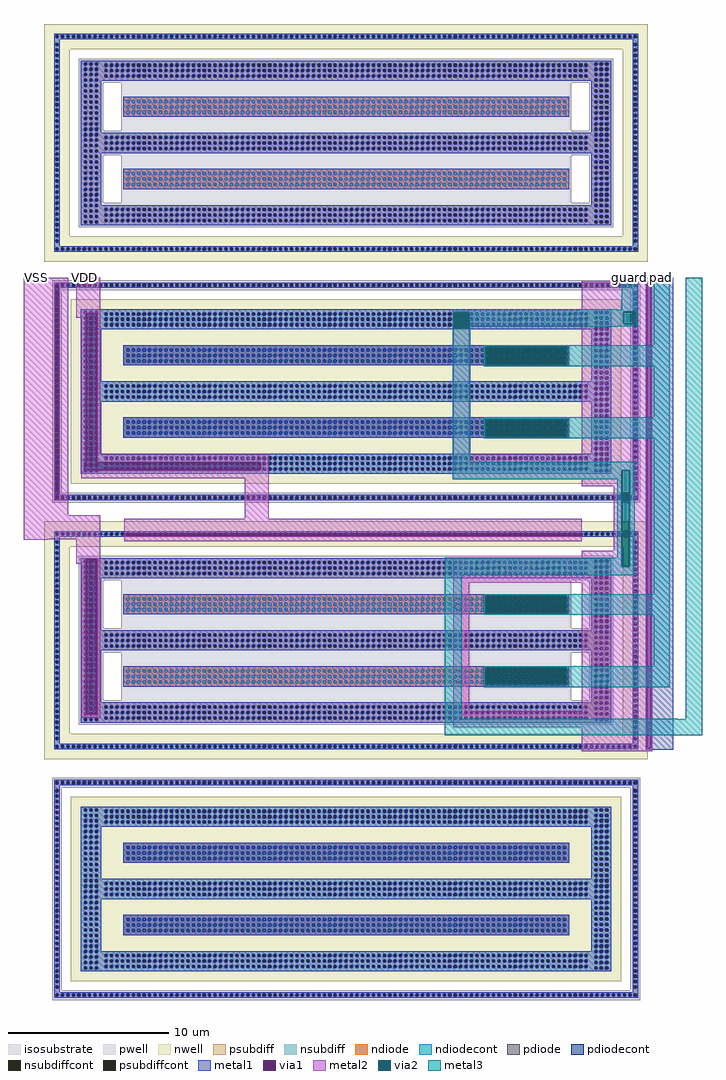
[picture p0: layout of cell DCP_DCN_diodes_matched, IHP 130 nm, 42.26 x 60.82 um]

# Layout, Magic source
magic
tech ihp-sg13g2
magscale 1 2
<< metal1 >>
rect 7400 2740 7740 2800
rect 7400 -3060 7420 2740
rect 7460 -3060 7740 2740
rect 7400 -3080 7740 -3060
<< via1 >>
rect 40 40 80 2720
rect 420 500 560 2360
rect 5400 1720 6420 1940
rect 5400 820 6420 1040
rect 400 400 2600 500
rect 920 -420 6600 -380
rect 420 -2640 560 -700
rect 5400 -1380 6420 -1160
rect 5400 -2280 6420 -2060
rect 7420 -3060 7460 2740
<< metal2 >>
rect -351 2720 200 2800
rect -351 40 40 2720
rect 80 40 200 2720
rect 300 2360 600 2800
rect 6600 2740 7480 2760
rect 6600 2400 7420 2740
rect 300 2300 420 2360
rect 360 500 420 2300
rect 560 600 600 2360
rect 5000 2380 7420 2400
rect 5000 2370 7120 2380
rect 5200 2220 7120 2370
rect 7280 2220 7420 2380
rect 5200 2200 7420 2220
rect 5000 600 5200 2170
rect 5380 1940 6440 1960
rect 5380 1720 5400 1940
rect 6420 1720 6440 1940
rect 5380 1700 6440 1720
rect 5380 1040 6440 1060
rect 5380 820 5400 1040
rect 6420 820 6440 1040
rect 5380 800 6440 820
rect 6600 600 7420 2200
rect 560 500 2700 600
rect 5000 500 7420 600
rect 360 400 400 500
rect 2600 400 2700 500
rect 360 300 2700 400
rect -351 -160 200 40
rect -351 -460 600 -160
rect 2400 -200 2700 300
rect 4991 400 7420 500
rect 4991 291 7100 400
rect 6600 200 7100 291
rect -351 -461 -48 -460
rect 300 -700 600 -460
rect 900 -380 6600 -200
rect 900 -420 920 -380
rect 900 -480 6600 -420
rect 7000 -600 7100 200
rect 6600 -700 7100 -600
rect 300 -760 420 -700
rect 360 -2640 420 -760
rect 560 -2640 600 -700
rect 360 -2680 600 -2640
rect 5000 -800 7100 -700
rect 7200 -800 7420 400
rect 5000 -1000 7420 -800
rect 5000 -2600 5200 -1000
rect 5380 -1160 6440 -1140
rect 5380 -1380 5400 -1160
rect 6420 -1380 6440 -1160
rect 5380 -1400 6440 -1380
rect 5380 -2060 6440 -2040
rect 5380 -2280 5400 -2060
rect 6420 -2280 6440 -2060
rect 5380 -2300 6440 -2280
rect 6600 -2600 7420 -1000
rect 5000 -2800 7420 -2600
rect 6600 -3060 7420 -2800
rect 7460 -3060 7480 2740
rect 6600 -3100 7480 -3060
<< via2 >>
rect 5000 2170 5200 2370
rect 7120 2220 7280 2380
rect 5400 1720 6420 1940
rect 5400 820 6420 1040
rect 7100 -800 7200 400
rect 5400 -1380 6420 -1160
rect 5400 -2280 6420 -2060
<< metal3 >>
rect 4991 2400 7042 2409
rect 7100 2400 7300 2800
rect 4991 2380 7300 2400
rect 4991 2370 7120 2380
rect 4991 2170 5000 2370
rect 5200 2220 7120 2370
rect 7280 2220 7300 2380
rect 5200 2200 7300 2220
rect 5200 2191 7042 2200
rect 5200 2170 5209 2191
rect 4991 509 5209 2170
rect 7500 1960 7700 2800
rect 5380 1940 7700 1960
rect 5380 1720 5400 1940
rect 6420 1720 7700 1940
rect 5380 1700 7700 1720
rect 7500 1060 7700 1700
rect 5380 1040 7700 1060
rect 5380 820 5400 1040
rect 6420 820 7700 1040
rect 5380 800 7700 820
rect 4991 400 7260 509
rect 4991 291 7100 400
rect 7042 -691 7100 291
rect 4891 -800 7100 -691
rect 7200 -800 7260 400
rect 4891 -909 7260 -800
rect 4893 -2692 5108 -909
rect 7500 -1140 7700 800
rect 5380 -1160 7700 -1140
rect 5380 -1380 5400 -1160
rect 6420 -1380 7700 -1160
rect 5380 -1400 7700 -1380
rect 7500 -2040 7700 -1400
rect 5380 -2060 7700 -2040
rect 5380 -2280 5400 -2060
rect 6420 -2280 7700 -2060
rect 5380 -2300 7700 -2280
rect 4893 -2700 7800 -2692
rect 7900 -2700 8100 2800
rect 4893 -2900 8100 -2700
use sg13g2_DCNDiode  sg13g2_DCNDiode_0
transform 1 0 358 0 1 -2744
box -456 -456 7068 2508
use sg13g2_DCNDiode  sg13g2_DCNDiode_1
transform 1 0 358 0 1 3456
box -456 -456 7068 2508
use sg13g2_DCPDiode  sg13g2_DCPDiode_0
transform 1 0 358 0 1 358
box -358 -358 6970 2410
use sg13g2_DCPDiode  sg13g2_DCPDiode_1
transform 1 0 358 0 1 -5842
box -358 -358 6970 2410
<< labels >>
rlabel metal2 -200 2800 -200 2800 1 VSS
port 1 n
rlabel metal2 400 2800 400 2800 1 VDD
port 2 n
rlabel metal3 7200 2800 7200 2800 1 guard
port 3 n
rlabel metal3 7600 2800 7600 2800 1 pad
port 4 n
<< end >>

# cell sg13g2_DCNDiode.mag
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
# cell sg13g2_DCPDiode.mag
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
